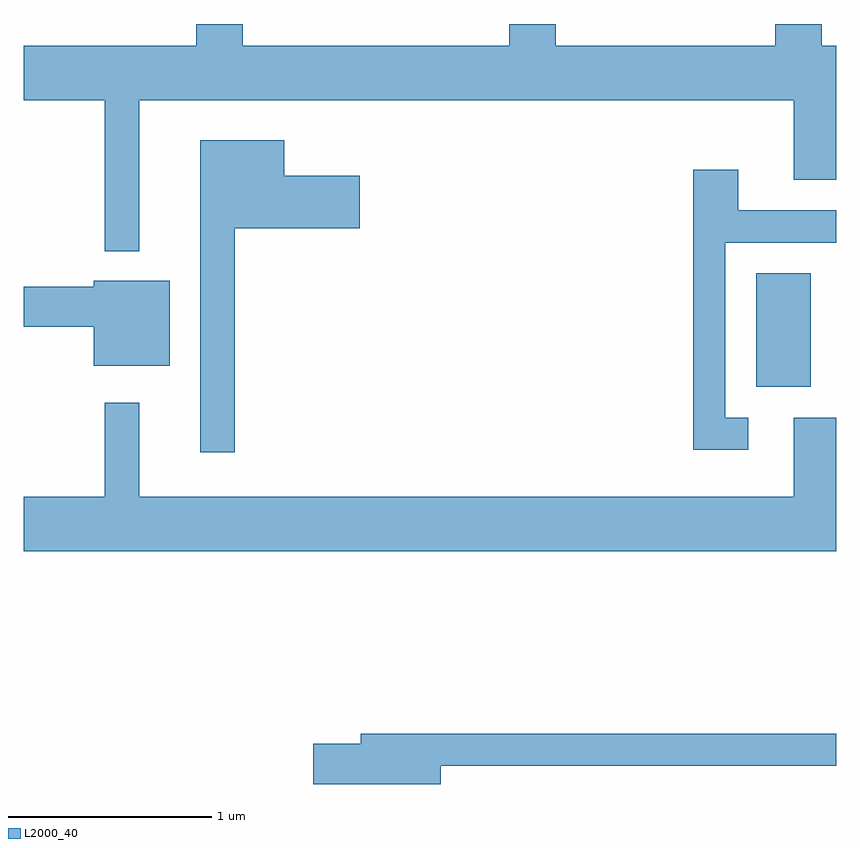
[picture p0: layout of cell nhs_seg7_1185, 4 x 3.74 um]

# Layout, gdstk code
import gdstk
lib = gdstk.Library(unit=1e-6, precision=1e-09)
def R(c, l, rs):  # rectangles x0, y0, x1, y1
    for r in rs: c.add(gdstk.rectangle(r[:2], r[2:], *l))
def P(c, l, *ps):  # polygons
    for p in ps: c.add(gdstk.Polygon(p, *l))
L2000_40 = (2000, 40)

nhs_seg7_1185 = lib.new_cell('nhs_seg7_1185')
R(nhs_seg7_1185, L2000_40, [(225.216,1708.466,225.484,1709.024)])
P(nhs_seg7_1185, L2000_40, [(222.179,1709.876),(225.401,1709.876),(225.401,1709.486),(225.611,1709.486),(225.611,1710.144),(225.539,1710.144),(225.539,1710.252),(225.311,1710.252),(225.311,1710.144),(224.229,1710.144),(224.229,1710.252),(224.001,1710.252),(224.001,1710.144),(222.689,1710.144),(222.689,1710.252),(222.461,1710.252),(222.461,1710.144),(221.611,1710.144),(221.611,1709.876),(222.011,1709.876),(222.011,1709.133),(222.179,1709.133)],
  [(222.649,1709.246),(223.264,1709.246),(223.264,1709.504),(222.894,1709.504),(222.894,1709.679),(222.481,1709.679),(222.481,1708.143),(222.649,1708.143)],
  [(225.178,1708.314),(225.064,1708.314),(225.064,1709.176),(225.611,1709.176),(225.611,1709.334),(225.129,1709.334),(225.129,1709.534),(224.906,1709.534),(224.906,1708.156),(225.178,1708.156)],
  [(222.329,1708.989),(221.956,1708.989),(221.956,1708.959),(221.611,1708.959),(221.611,1708.761),(221.956,1708.761),(221.956,1708.571),(222.329,1708.571)],
  [(225.611,1708.314),(225.401,1708.314),(225.401,1707.924),(222.179,1707.924),(222.179,1708.388),(222.011,1708.388),(222.011,1707.924),(221.611,1707.924),(221.611,1707.656),(225.611,1707.656)],
  [(223.664,1706.601),(225.611,1706.601),(225.611,1706.759),(223.271,1706.759),(223.271,1706.709),(223.036,1706.709),(223.036,1706.511),(223.664,1706.511)])

lib.write_gds('nhs_seg7_1185.gds')
